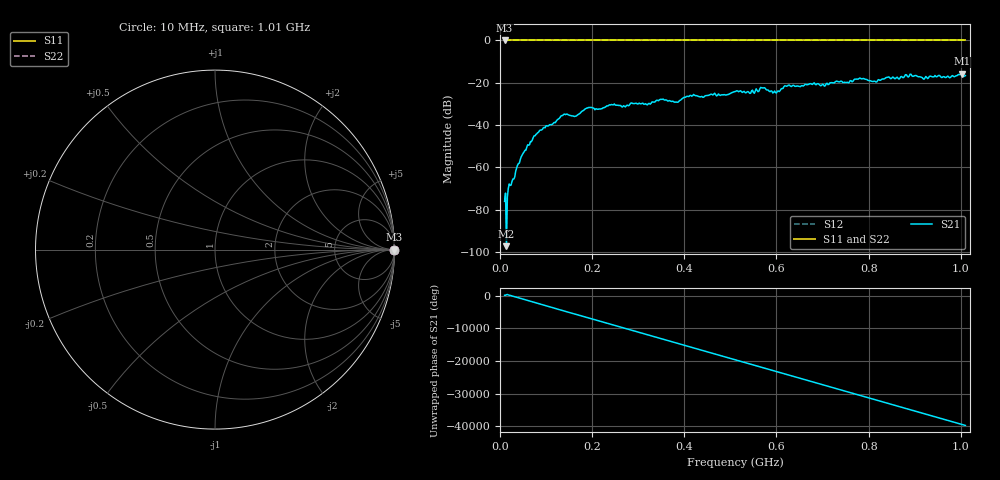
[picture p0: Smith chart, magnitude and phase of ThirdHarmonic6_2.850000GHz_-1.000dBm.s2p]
! 8/17/2025 7:42:35 AM
! C:\ANRITSUVNA\TEMP\TEMP.S2P
! CHANNEL.1
! TR.MEASUREMENT
! RAW.DATA
! RF.CORRECTION.OFF
! AVERAGING.OFF
! IF.BANDWIDTH: 5KHZ
! SWEEPTYPE:  FREQ.SWEEP(Linear)
! Reference Plane Port Info
! PORT:  PORT1  PORT2
! DISTANCE:  0  m  0  m
! TIME:  0  s  0  s
! PHASE.OFFSET:  0  deg.  0  deg.
! LOSS:  0  dB  0  dB
! REF.LOSS:  0  dB  0  dB
! REF.FREQ:  0  Hz  0  Hz
! Power Info
! POWER:  -20  dBm  -20  dBm
! EFF.POWER:  -20  dBm  -20  dBm
! SOURCE.ATTEN:  0  dB  0  dB
! TEST.ATTEN:  0  dB  0  dB
# GHZ S RI R 50.0
! FREQ.GHZ  S11RE  S11IM  S21RE  S21IM  S12RE  S12IM  S22RE  S22IM
!; PortSelection: Port_12
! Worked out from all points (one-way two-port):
!   501 points, 10 MHz to 1.01 GHz, reference 50 ohm
!   highest |S21| = -15.79 dB at 1.002 GHz (marker M1); lowest = -97.3 dB at 14 MHz (marker M2)
!   lowest |S11| = 0.0 dB at 10 MHz (marker M3)
!   |S11| at or under -10 dB: nowhere
!   |S22| runs from 0.0 to 0.0 dB; largest |S21 - S12| = 1.2
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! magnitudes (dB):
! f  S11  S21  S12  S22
! 10 MHz  0.0  -76.1  0.0  0.0
! 14 MHz  0.0  -97.3  0.0  0.0
! 22 MHz  0.0  -68.6  0.0  0.0
! 48 MHz  0.0  -54.2  0.0  0.0
! 76 MHz  0.0  -45.1  0.0  0.0
! 136 MHz  0.0  -35.5  0.0  0.0
! 162 MHz  0.0  -35.9  0.0  0.0
! 178 MHz  0.0  -33.5  0.0  0.0
! 344 MHz  0.0  -28.5  0.0  0.0
! 382 MHz  0.0  -29.1  0.0  0.0
! 416 MHz  0.0  -26.3  0.0  0.0
! 510 MHz  0.0  -24.2  0.0  0.0
! 548 MHz  0.0  -23.5  0.0  0.0
! 570 MHz  0.0  -22.5  0.0  0.0
! 596 MHz  0.0  -23.9  0.0  0.0
! 622 MHz  0.0  -21.7  0.0  0.0
! 678 MHz  0.0  -20.8  0.0  0.0
! 784 MHz  0.0  -18.1  0.0  0.0
! 814 MHz  0.0  -19.3  0.0  0.0
! 844 MHz  0.0  -17.3  0.0  0.0
! 1.002 GHz  0.0  -15.8  0.0  0.0
! 1.01 GHz  0.0  -16.6  0.0  0.0
